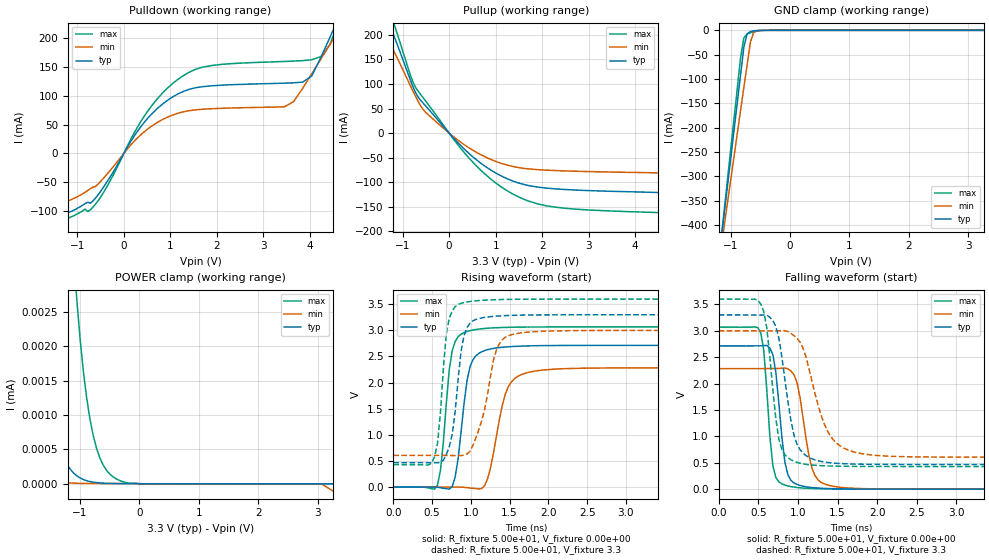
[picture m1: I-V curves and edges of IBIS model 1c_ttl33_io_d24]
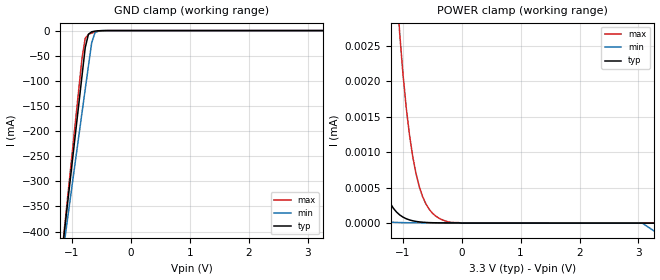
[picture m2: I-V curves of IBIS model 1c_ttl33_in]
[IBIS Ver] 3.2
[File Name] cpu16bit.ibs
[File Rev] 1.1
[Date] February 25, 2004
[Source] Altera, Quartus II 3.0
[Notes]
| The models are designated as "Final" and have been
| correlated against physical device operation.
Unused IOs which have been assigned as tri-stated inputs or
as outputs driving any signal in Quartus II are represented by the NC
[Disclaimer] Data is for modeling purposes only and is not guaranteed.
[Copyright] Copyright (C) 1991-2003 Altera Corporation
[Component] EP1C3T100C8_cpu16bit
[Manufacturer]  Altera Corporation
[Package]
| RLC values are for 100 TQFP package
|variable  typ  min  max
R_pkg  120,00m   110,00m   130,00m
L_pkg  4,00nH   4,00nH   5,00nH
C_pkg  0,00pF   0,00pF   0,00pF
[Pin]  signal_name  model_name   R_pin  L_pin  C_pin
4   NRE_EXT   1c_ttl33_io_d24   120,00m   4,00nH   0,00pF
5   ADDR_OUT_EXT[2]   1c_ttl33_io_d24   120,00m   4,00nH   0,00pF
6   ADDR_OUT_EXT[8]   1c_ttl33_io_d24   120,00m   4,00nH   0,00pF
7   DATA0   1c_ttl33_io_d24   120,00m   4,00nH   0,00pF
8   nCONFIG   1c_ttl33_io_d24   120,00m   4,00nH   0,00pF
9  N.C.   NC
10   clk_in   1c_ttl33_in   120,00m   4,00nH   0,00pF
11  N.C.   NC
12   nCEO   1c_ttl33_io_d24   120,00m   4,00nH   0,00pF
13   nCE   1c_ttl33_io_d24   120,00m   4,00nH   0,00pF
14   MSEL0   1c_ttl33_io_d24   120,00m   4,00nH   0,00pF
15   MSEL1   1c_ttl33_io_d24   120,00m   4,00nH   0,00pF
16   DCLK   1c_ttl33_io_d24   120,00m   4,00nH   0,00pF
17   ADDR_OUT_EXT[3]   1c_ttl33_io_d24   120,00m   4,00nH   0,00pF
18  N.C.   NC
19  N.C.   NC
20   ADDR_OUT_EXT[4]   1c_ttl33_io_d24   120,00m   4,00nH   0,00pF
21   ADDR_OUT_EXT[6]   1c_ttl33_io_d24   120,00m   4,00nH   0,00pF
28   DATA_OUT_EXT[10]   1c_ttl33_io_d24   120,00m   4,00nH   0,00pF
29   DATA_OUT_EXT[5]   1c_ttl33_io_d24   120,00m   4,00nH   0,00pF
30  N.C.   NC
31  N.C.   NC
32  N.C.   NC
33  N.C.   NC
34   DATA_IN_EXT[12]   1c_ttl33_in   120,00m   4,00nH   0,00pF
35   ADDR_OUT_EXT[5]   1c_ttl33_io_d24   120,00m   4,00nH   0,00pF
36   DATA_OUT_EXT[15]   1c_ttl33_io_d24   120,00m   4,00nH   0,00pF
37   DATA_OUT_EXT[11]   1c_ttl33_io_d24   120,00m   4,00nH   0,00pF
38   DATA_IN_EXT[13]   1c_ttl33_in   120,00m   4,00nH   0,00pF
39   NCS_EXT   1c_ttl33_io_d24   120,00m   4,00nH   0,00pF
40   DATA_IN_EXT[3]   1c_ttl33_in   120,00m   4,00nH   0,00pF
41   DATA_IN_EXT[10]   1c_ttl33_in   120,00m   4,00nH   0,00pF
42   DATA_OUT_EXT[13]   1c_ttl33_io_d24   120,00m   4,00nH   0,00pF
43  N.C.   NC
44  N.C.   NC
45  N.C.   NC
46  N.C.   NC
47   DATA_OUT_EXT[9]   1c_ttl33_io_d24   120,00m   4,00nH   0,00pF
48   DATA_IN_EXT[14]   1c_ttl33_in   120,00m   4,00nH   0,00pF
53   DATA_OUT_EXT[12]   1c_ttl33_io_d24   120,00m   4,00nH   0,00pF
54   DATA_OUT_EXT[14]   1c_ttl33_io_d24   120,00m   4,00nH   0,00pF
55   DATA_IN_EXT[11]   1c_ttl33_in   120,00m   4,00nH   0,00pF
56   DATA_IN_EXT[15]   1c_ttl33_in   120,00m   4,00nH   0,00pF
57   DATA_IN_EXT[9]   1c_ttl33_in   120,00m   4,00nH   0,00pF
58  N.C.   NC
59  N.C.   NC
60   CONF_DONE   1c_ttl33_io_d24   120,00m   4,00nH   0,00pF
61   nSTATUS   1c_ttl33_io_d24   120,00m   4,00nH   0,00pF
65   DATA_IN_EXT[1]   1c_ttl33_in   120,00m   4,00nH   0,00pF
66   nreset_in   1c_ttl33_in   120,00m   4,00nH   0,00pF
68   DATA_IN_EXT[2]   1c_ttl33_in   120,00m   4,00nH   0,00pF
69   DATA_IN_EXT[4]   1c_ttl33_in   120,00m   4,00nH   0,00pF
70   DATA_OUT_EXT[1]   1c_ttl33_io_d24   120,00m   4,00nH   0,00pF
71   DATA_OUT_EXT[8]   1c_ttl33_io_d24   120,00m   4,00nH   0,00pF
72   DATA_OUT_EXT[6]   1c_ttl33_io_d24   120,00m   4,00nH   0,00pF
73   DATA_OUT_EXT[2]   1c_ttl33_io_d24   120,00m   4,00nH   0,00pF
74   DATA_IN_EXT[8]   1c_ttl33_in   120,00m   4,00nH   0,00pF
76   DATA_IN_EXT[0]   1c_ttl33_in   120,00m   4,00nH   0,00pF
78   DATA_IN_EXT[7]   1c_ttl33_in   120,00m   4,00nH   0,00pF
79   DATA_OUT_EXT[7]   1c_ttl33_io_d24   120,00m   4,00nH   0,00pF
80  N.C.   NC
81  N.C.   NC
82  N.C.   NC
83  N.C.   NC
84   DATA_IN_EXT[5]   1c_ttl33_in   120,00m   4,00nH   0,00pF
85   DATA_IN_EXT[6]   1c_ttl33_in   120,00m   4,00nH   0,00pF
86   ADDR_OUT_EXT[1]   1c_ttl33_io_d24   120,00m   4,00nH   0,00pF
87   cpu_int   1c_ttl33_in   120,00m   4,00nH   0,00pF
88   ADDR_OUT_EXT[0]   1c_ttl33_io_d24   120,00m   4,00nH   0,00pF
89   DATA_OUT_EXT[3]   1c_ttl33_io_d24   120,00m   4,00nH   0,00pF
90   DATA_OUT_EXT[0]   1c_ttl33_io_d24   120,00m   4,00nH   0,00pF
91   DATA_OUT_EXT[4]   1c_ttl33_io_d24   120,00m   4,00nH   0,00pF
92   ADDR_OUT_EXT[9]   1c_ttl33_io_d24   120,00m   4,00nH   0,00pF
93  N.C.   NC
94  N.C.   NC
95  N.C.   NC
96  N.C.   NC
97   NWE_EXT   1c_ttl33_io_d24   120,00m   4,00nH   0,00pF
98   ADDR_OUT_EXT[7]   1c_ttl33_io_d24   120,00m   4,00nH   0,00pF
| Models and submodels in the file (2): 1c_ttl33_io_d24 (I/O), 1c_ttl33_in (Input)
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[Model] 1c_ttl33_io_d24
Model_type I/O
Vinl  = 0.700
Vinh  = 1.700
Vmeas = 1.500
Rref  = 1M
Cref  = 10pF
Vref  = 0.00e+00
C_comp  4.30pF  NA  NA
[Temperature Range]  25.0000  85.0000  0.0000
[Voltage Range]   3.3   3.0   3.6
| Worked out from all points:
|   slope of the pulldown table from 0 to 0.495 V, typ, clamps not added: 8.35 ohm
|   slope of the pullup table from 0 to 0.495 V, typ, clamps not added: 10.5 ohm
|   GND clamp passes 1 mA (typ) near -0.60 V on its own axis
|   rising waveform, R_fixture 5.00e+01, V_fixture 0.00e+00: 20-80 % time 134ps typ, 192ps min, 115ps max; typ from 0 V to 2.71 V
|   falling waveform, R_fixture 5.00e+01, V_fixture 0.00e+00: 20-80 % time 109ps typ, 153ps min, 94.1ps max; typ from 2.71 V to 0 V
|   rising waveform, R_fixture 5.00e+01, V_fixture 3.3: 20-80 % time 129ps typ, 210ps min, 103ps max; typ from 0.467 V to 3.3 V
|   falling waveform, R_fixture 5.00e+01, V_fixture 3.3: 20-80 % time 176ps typ, 282ps min, 135ps max; typ from 3.3 V to 0.467 V
[GND_Clamp]
| voltage   I(typ)   I(min)   I(max)
-3.3V     -2.675A    -2.327A    -2.871A
-1.16V    -433.6mA   -449.1mA   -431.1mA
-1.105V   -376.3mA   -401.3mA   -368.4mA
-1.05V    -319mA     -353.6mA   -305.7mA
-830mV    -91.01mA   -164.1mA   -56.06mA
-775mV    -34.23mA   -117.2mA   -15.36mA
-720mV    -7.254mA   -70.5mA    -7.828mA
-665mV    -2.494mA   -24.43mA   -4.978mA
-610mV    -1.062mA   -4.462mA   -2.968mA
-555mV    -408.6uA   -794.5uA   -1.504mA
-500mV    -130.2uA   -144uA     -604.9uA
3.26V     -117.6pA   2.579nA    73.59pA
[Pulldown]
| voltage   I(typ)   I(min)   I(max)
-3.3V     -114mA     -98mA      -123mA
-1.74V    -115mA     -94.5mA    -124mA
-720mV    -86.75mA   -61.3mA    -98.27mA
545mV     63.86mA    44.31mA    77.03mA
1.48V     113mA      75.14mA    144.1mA
3.455V    122.1mA    81.06mA    159.9mA
3.65V     122.7mA    90.12mA    160.6mA
4.04V     134.7mA    138.6mA    162.9mA
4.235V    166.8mA    164mA      168.3mA
4.43V     201.8mA    189.3mA    189.3mA
4.625V    236.3mA    214.7mA    231.8mA
6.6V      599mA      491.7mA    679.1mA
[POWER_Clamp]
|voltage   I(typ)   I(min)   I(max)
-3.3V     61.21uA    22.43uA    115.3uA
-2.325V   15.21uA    2.712uA    43.11uA
-2.13V    10.25uA    1.455uA    34.05uA
-1.935V   6.27uA     719.4nA    25.9uA
-1.74V    3.36uA     321.1nA    18.69uA
-1.435V   903.4nA    60.76nA    9.599uA
-1.27V    381.2nA    20.93nA    5.966uA
-1.05V    113.9nA    7.31nA     2.654uA
-940mV    60.86nA    5.194nA    1.62uA
-775mV    23.1nA     3.741nA    697.6nA
-445mV    3.971nA    2.81nA     101.7nA
3.26V     -443.9pA   -108.3nA   -508.4pA
[Pullup]
| voltage   I(typ)   I(min)   I(max)
-3.3V     627.6mA    534.2mA    697.6mA
-1.49V    271mA      225.1mA    306.6mA
-1.27V    218.6mA    183.1mA    246.5mA
-1.16V    191.5mA    161.6mA    215.1mA
-720mV    82.26mA    74.46mA    92.73mA
-500mV    54.73mA    41.89mA    64.7mA
105mV     -11.19mA   -8.166mA   -13.54mA
820mV     -70.51mA   -50.38mA   -87.42mA
1.59V     -104.1mA   -71.54mA   -134mA
2.48V     -114.7mA   -76.9mA    -152.8mA
5.405V    -126mA     -85.25mA   -167mA
6.6V      -146mA     -99mA      -192mA
[Rising Waveform]
R_fixture = 5.00e+01
V_fixture = 0.00e+00
V_fixture_min = 0.00e+00
V_fixture_max = 0.00e+00
|Time   Typ(v)   Min(v)   Max(v)
0s        0V         0V         0V
570ps     -5.991mV   -504uV     37.15mV
760ps     10.22mV    -933.9uV   2.612V
836ps     548.2mV    -1.327mV   2.879V
950ps     2.032V     -11.08mV   2.979V
1.064ns   2.513V     -28.26mV   3.017V
1.216ns   2.63V      156.4mV    3.042V
1.482ns   2.686V     1.918V     3.058V
1.824ns   2.706V     2.22V      3.065V
12ns      2.713V     2.283V     3.068V
[Falling Waveform]
R_fixture = 5.00e+01
V_fixture = 0.00e+00
V_fixture_min = 0.00e+00
V_fixture_max = 0.00e+00
|Time   Typ(v)   Min(v)   Max(v)
0s        2.713V     2.283V     3.068V
532ps     2.714V     2.283V     2.958V
570ps     2.72V      2.284V     2.622V
646ps     2.672V     2.284V     1.009V
722ps     2.21V      2.285V     220.5mV
836ps     512.3mV    2.293V     77.96mV
912ps     166.7mV    2.238V     48.58mV
1.178ns   30.45mV    395.8mV    12.5mV
1.482ns   7.395mV    45.61mV    3.353mV
12ns      319.7nV    0V         49.82nV
[Rising Waveform]
R_fixture = 5.00e+01
V_fixture = 3.3
V_fixture_min = 3.0
V_fixture_max = 3.6
|Time   Typ(v)   Min(v)   Max(v)
0s        467.1mV    606.5mV    428.7mV
494ps     464.8mV    606.6mV    460.9mV
570ps     463.4mV    605.8mV    834.6mV
646ps     514.4mV    605.1mV    2.286V
722ps     772.8mV    604.3mV    3.231V
950ps     3.051V     631.3mV    3.545V
1.14ns    3.239V     1.272V     3.576V
1.33ns    3.273V     2.625V     3.589V
1.634ns   3.291V     2.95V      3.596V
12ns      3.3V       3V         3.6V
[Falling Waveform]
R_fixture = 5.00e+01
V_fixture = 3.3
V_fixture_min = 3.0
V_fixture_max = 3.6
|Time   Typ(v)   Min(v)   Max(v)
0s        3.3V       3V         3.6V
532ps     3.296V     2.998V     3.505V
608ps     3.295V     2.998V     3.049V
684ps     3.195V     2.998V     1.883V
798ps     2.501V     3.001V     750.3mV
950ps     1.029V     2.908V     528.5mV
1.064ns   683.3mV    2.674V     479.4mV
1.406ns   500.2mV    1.015V     438.6mV
1.9ns     471mV      651.9mV    430mV
12ns      467mV      606.5mV    428.7mV
[Ramp]
dV/dt_r 1.748e+000/1.520e-010 1.265e+000/1.900e-010 1.741e+000/1.140e-010
dV/dt_f 1.559e+000/1.520e-010 1.557e+000/3.040e-010 1.718e+000/1.140e-010
[Model] 1c_ttl33_in
Model_type Input
Vinl  = 0.700
Vinh  = 1.700
C_comp  4.30pF  NA  NA
[Temperature Range]  25.0000  85.0000  0.0000
[Voltage Range]   3.3   3.0   3.6
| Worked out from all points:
|   GND clamp passes 1 mA (typ) near -0.60 V on its own axis
[GND_Clamp]
| voltage   I(typ)   I(min)   I(max)
-3.3V     -2.675A    -2.327A    -2.871A
-1.16V    -433.6mA   -449.1mA   -431.1mA
-1.105V   -376.3mA   -401.3mA   -368.4mA
-1.05V    -319mA     -353.6mA   -305.7mA
-830mV    -91.01mA   -164.1mA   -56.06mA
-775mV    -34.23mA   -117.2mA   -15.36mA
-720mV    -7.254mA   -70.5mA    -7.828mA
-665mV    -2.494mA   -24.43mA   -4.978mA
-610mV    -1.062mA   -4.462mA   -2.968mA
-555mV    -408.6uA   -794.5uA   -1.504mA
-500mV    -130.2uA   -144uA     -604.9uA
3.26V     -112pA     2.58nA     73.59pA
[POWER_Clamp]
|voltage   I(typ)   I(min)   I(max)
-3.3V     61.21uA    22.43uA    115.3uA
-2.325V   15.21uA    2.712uA    43.11uA
-2.13V    10.25uA    1.455uA    34.05uA
-1.935V   6.27uA     719.4nA    25.9uA
-1.74V    3.36uA     321.1nA    18.69uA
-1.435V   903.4nA    60.73nA    9.599uA
-1.27V    381.3nA    20.92nA    5.966uA
-1.05V    113.8nA    7.317nA    2.654uA
-940mV    60.85nA    5.206nA    1.62uA
-775mV    23.11nA    3.732nA    697.6nA
-445mV    3.965nA    2.817nA    101.7nA
3.26V     -443.9pA   -108.3nA   -508.4pA
